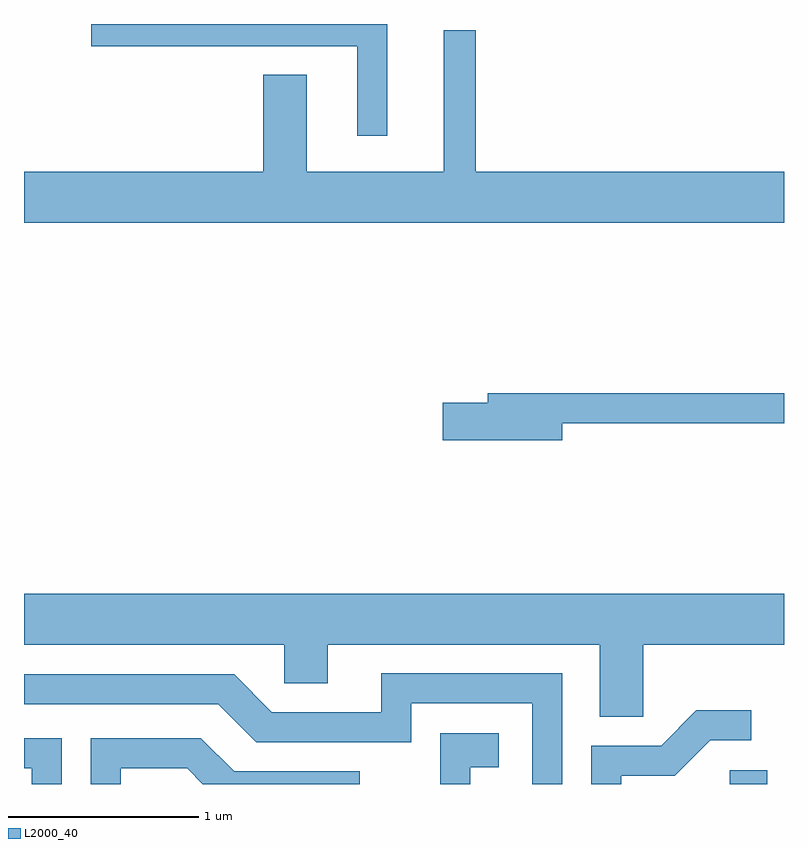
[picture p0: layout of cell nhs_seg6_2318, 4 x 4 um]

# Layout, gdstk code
import gdstk
lib = gdstk.Library(unit=1e-6, precision=1e-09)
def R(c, l, rs):  # rectangles x0, y0, x1, y1
    for r in rs: c.add(gdstk.rectangle(r[:2], r[2:], *l))
def P(c, l, *ps):  # polygons
    for p in ps: c.add(gdstk.Polygon(p, *l))
L2000_40 = (2000, 40)

nhs_seg6_2318 = lib.new_cell('nhs_seg6_2318')
R(nhs_seg6_2318, L2000_40, [(259.326,1578.162,259.524,1578.234)])
P(nhs_seg6_2318, L2000_40, [(257.524,1582.162),(255.966,1582.162),(255.966,1582.046),(257.366,1582.046),(257.366,1581.573),(257.524,1581.573)],
  [(259.611,1581.384),(257.989,1581.384),(257.989,1582.128),(257.821,1582.128),(257.821,1581.384),(257.099,1581.384),(257.099,1581.894),(256.871,1581.894),(256.871,1581.384),(255.611,1581.384),(255.611,1581.116),(259.611,1581.116)],
  [(258.444,1580.061),(259.611,1580.061),(259.611,1580.219),(258.051,1580.219),(258.051,1580.169),(257.816,1580.169),(257.816,1579.971),(258.444,1579.971)],
  [(258.869,1578.896),(259.611,1578.896),(259.611,1579.164),(255.611,1579.164),(255.611,1578.896),(256.981,1578.896),(256.981,1578.691),(257.209,1578.691),(257.209,1578.896),(258.641,1578.896),(258.641,1578.516),(258.869,1578.516)],
  [(258.444,1578.744),(257.491,1578.744),(257.491,1578.539),(256.916,1578.539),(256.717,1578.739),(255.611,1578.739),(255.611,1578.581),(256.634,1578.581),(256.834,1578.381),(257.649,1578.381),(257.649,1578.586),(258.286,1578.586),(258.286,1578.162),(258.444,1578.162)],
  [(258.754,1578.206),(259.037,1578.206),(259.222,1578.391),(259.438,1578.391),(259.438,1578.549),(259.149,1578.549),(258.964,1578.364),(258.596,1578.364),(258.596,1578.162),(258.754,1578.162)],
  [(257.959,1578.251),(258.109,1578.251),(258.109,1578.429),(257.801,1578.429),(257.801,1578.162),(257.959,1578.162)],
  [(256.119,1578.246),(256.469,1578.246),(256.553,1578.162),(257.379,1578.162),(257.379,1578.229),(256.717,1578.229),(256.541,1578.404),(255.961,1578.404),(255.961,1578.162),(256.119,1578.162)],
  [(255.809,1578.404),(255.611,1578.404),(255.611,1578.246),(255.651,1578.246),(255.651,1578.162),(255.809,1578.162)])

lib.write_gds('nhs_seg6_2318.gds')
